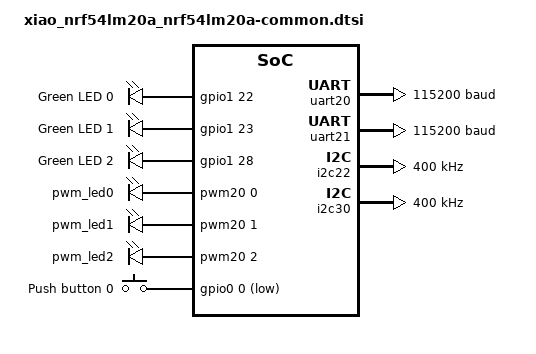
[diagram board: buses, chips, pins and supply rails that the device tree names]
/*
 * Copyright (c) 2025 Seeed Technology Co., Ltd.
 *
 * SPDX-License-Identifier: Apache-2.0
 */

#include "xiao_nrf54lm20a_nrf54lm20a-pinctrl.dtsi"

/ {
	leds {
		compatible = "gpio-leds";

		led0: led_0 {
			gpios = <&gpio1 22 GPIO_ACTIVE_HIGH>;
			label = "Green LED 0";
		};

		led1: led_1 {
			gpios = <&gpio1 23 GPIO_ACTIVE_HIGH>;
			label = "Green LED 1";
		};

		led2: led_2 {
			gpios = <&gpio1 28 GPIO_ACTIVE_HIGH>;
			label = "Green LED 2";
		};
	};

	pwmleds {
		compatible = "pwm-leds";
		pwm_led0: pwm_led_0 {
			pwms = <&pwm20 0 PWM_MSEC(20) PWM_POLARITY_NORMAL>;
		};
		pwm_led1: pwm_led_1 {
			pwms = <&pwm20 1 PWM_MSEC(20) PWM_POLARITY_NORMAL>;
		};
		pwm_led2: pwm_led_2 {
			pwms = <&pwm20 2 PWM_MSEC(20) PWM_POLARITY_NORMAL>;
		};
	};

	buttons {
		compatible = "gpio-keys";

		button0: button_0 {
			gpios = <&gpio0 0 (GPIO_PULL_UP | GPIO_ACTIVE_LOW)>;
			label = "Push button 0";
			zephyr,code = <INPUT_KEY_0>;
		};
	};

	aliases {
		led0 = &led0;
		led1 = &led1;
		led2 = &led2;
		pwm-led0 = &pwm_led0;
		pwm-led1 = &pwm_led1;
		pwm-led2 = &pwm_led2;
		sw0 = &button0;
		watchdog0 = &wdt31;
	};
};

&uart20 {
	current-speed = <115200>;
	pinctrl-0 = <&uart20_default>;
	pinctrl-1 = <&uart20_sleep>;
	pinctrl-names = "default", "sleep";
};

&uart21 {
	current-speed = <115200>;
	pinctrl-0 = <&uart21_default>;
	pinctrl-1 = <&uart21_sleep>;
	pinctrl-names = "default", "sleep";
};

&i2c22 {
	pinctrl-0 = <&i2c22_default>;
	pinctrl-1 = <&i2c22_sleep>;
	pinctrl-names = "default", "sleep";
	clock-frequency = <400000>;
};

&i2c30 {
	pinctrl-0 = <&i2c30_default>;
	pinctrl-1 = <&i2c30_sleep>;
	pinctrl-names = "default", "sleep";
	clock-frequency = <400000>;
};

&spi23 {
	pinctrl-0 = <&spi23_default>;
	pinctrl-1 = <&spi23_sleep>;
	pinctrl-names = "default", "sleep";
};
